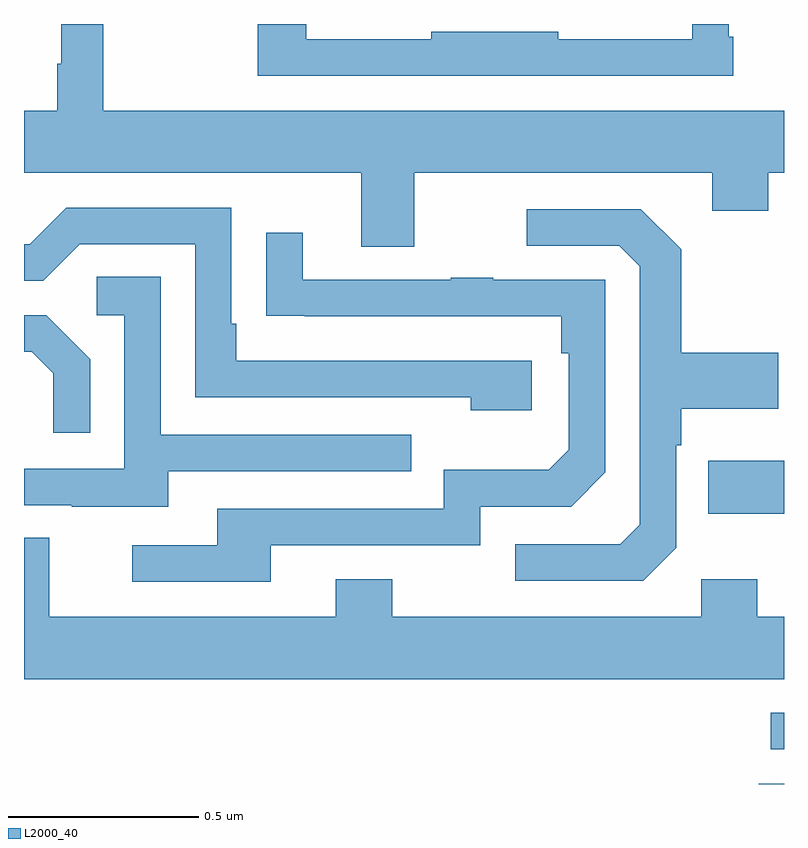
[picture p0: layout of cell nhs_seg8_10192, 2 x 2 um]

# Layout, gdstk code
import gdstk
lib = gdstk.Library(unit=1e-6, precision=1e-09)
def R(c, l, rs):  # rectangles x0, y0, x1, y1
    for r in rs: c.add(gdstk.rectangle(r[:2], r[2:], *l))
def P(c, l, *ps):  # polygons
    for p in ps: c.add(gdstk.Polygon(p, *l))
L2000_40 = (2000, 40)

nhs_seg8_10192 = lib.new_cell('nhs_seg8_10192')
R(nhs_seg8_10192, L2000_40, [(247.934,1106.9,248,1106.901), (247.965,1106.991,248,1107.087), (247.801,1107.611,248,1107.751)])
P(nhs_seg8_10192, L2000_40, [(247.027,1108.508),(247.811,1108.508),(247.811,1108.409),(247.959,1108.409),(247.959,1108.508),(248,1108.508),(248,1108.672),(246.208,1108.672),(246.208,1108.9),(246.098,1108.9),(246.098,1108.796),(246.087,1108.796),(246.087,1108.672),(246,1108.672),(246,1108.508),(246.887,1108.508),(246.887,1108.314),(247.027,1108.314)],
  [(247.867,1108.867),(247.854,1108.867),(247.854,1108.9),(247.758,1108.9),(247.758,1108.86),(247.406,1108.86),(247.406,1108.88),(247.072,1108.88),(247.072,1108.86),(246.743,1108.86),(246.743,1108.9),(246.615,1108.9),(246.615,1108.764),(247.867,1108.764)],
  [(247.336,1108.014),(246.559,1108.014),(246.559,1108.111),(246.546,1108.111),(246.546,1108.416),(246.111,1108.416),(246.015,1108.32),(246,1108.32),(246,1108.224),(246.051,1108.224),(246.147,1108.32),(246.45,1108.32),(246.45,1107.918),(247.175,1107.918),(247.175,1107.884),(247.336,1107.884)],
  [(247.716,1107.522),(247.716,1107.791),(247.729,1107.791),(247.729,1107.887),(247.985,1107.887),(247.985,1108.035),(247.729,1108.035),(247.729,1108.307),(247.623,1108.413),(247.323,1108.413),(247.323,1108.317),(247.566,1108.317),(247.62,1108.263),(247.62,1107.582),(247.569,1107.531),(247.293,1107.531),(247.293,1107.435),(247.629,1107.435)],
  [(246.649,1107.528),(247.2,1107.528),(247.2,1107.63),(247.44,1107.63),(247.53,1107.72),(247.53,1108.227),(247.235,1108.227),(247.235,1108.232),(247.123,1108.232),(247.123,1108.227),(246.733,1108.227),(246.733,1108.351),(246.637,1108.351),(246.637,1108.132),(246.739,1108.132),(246.739,1108.131),(247.414,1108.131),(247.414,1108.034),(247.434,1108.034),(247.434,1107.78),(247.381,1107.727),(247.104,1107.727),(247.104,1107.624),(246.509,1107.624),(246.509,1107.528),(246.285,1107.528),(246.285,1107.432),(246.649,1107.432)],
  [(246.379,1107.723),(247.019,1107.723),(247.019,1107.819),(246.36,1107.819),(246.36,1108.235),(246.192,1108.235),(246.192,1108.134),(246.264,1108.134),(246.264,1107.729),(246,1107.729),(246,1107.633),(246.125,1107.633),(246.125,1107.629),(246.379,1107.629)],
  [(246.174,1108.018),(246.058,1108.134),(246,1108.134),(246,1108.038),(246.02,1108.038),(246.077,1107.981),(246.077,1107.825),(246.174,1107.825)],
  [(248,1107.34),(247.929,1107.34),(247.929,1107.439),(247.782,1107.439),(247.782,1107.34),(246.969,1107.34),(246.969,1107.439),(246.821,1107.439),(246.821,1107.34),(246.067,1107.34),(246.067,1107.548),(246,1107.548),(246,1107.176),(248,1107.176)])

lib.write_gds('nhs_seg8_10192.gds')
